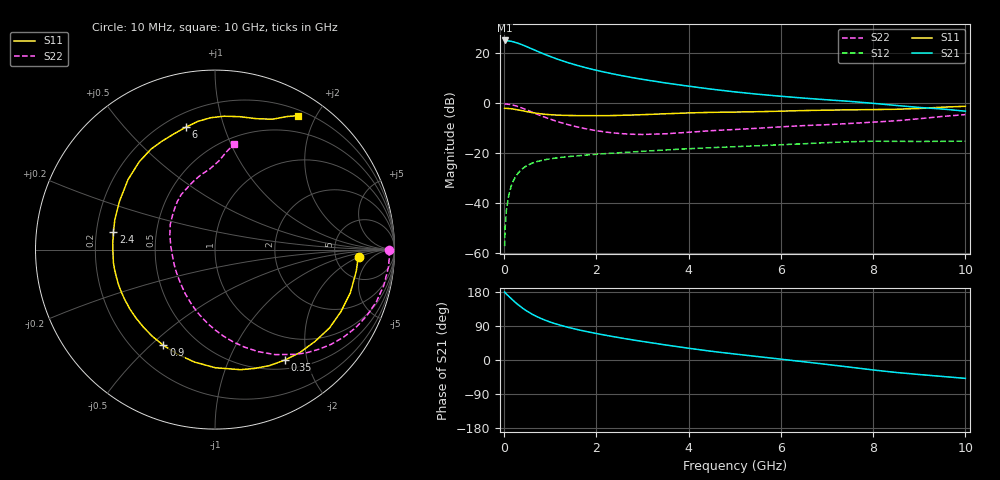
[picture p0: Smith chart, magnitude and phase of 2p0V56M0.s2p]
! (c) 2009  Infineon Technologies AG, Munich
! Infineon Technologies  Discrete & RF Semiconductors
! BFP420
! VCE =  0.5 V,  IC =  6.0 mA
! Common Emitter S-Parameters:  Nov 2009
# GHz  S  MA  R  50
!  f  S11  S21  S12  S22
! GHz  MAG  ANG  MAG  ANG  MAG  ANG  MAG  ANG
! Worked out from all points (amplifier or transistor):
!   46 points, 10 MHz to 10 GHz, reference 50 ohm
!   highest |S21| = 25.2 dB at 10 MHz (marker M1)
!   |S21| within 3 dB of that: start of sweep to 554.3 MHz
!   unconditionally stable (mu >= 1): 2.745 GHz to end of sweep
!   at 300 MHz: K = 0.13, MSG = 26.0 dB, |S12| = -27.9 dB
!   at 1.7 GHz: K = 0.69, MSG = 17.7 dB, |S12| = -20.8 dB
!   at 10 GHz: K = 1.08, MAG = 4.3 dB, |S12| = -15.1 dB
!   lowest NFmin = 0.70 dB at 900 MHz
!   S11 on the Smith chart (normalised r, x): 10 MHz: 8.64, -1.89; 350 MHz: 0.62, -1.63; 900 MHz: 0.33, -0.55; 2.4 GHz: 0.27, +0.08; 6 GHz: 0.28, +0.75; 10 GHz: 0.27, +1.76
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0.01  0.8012 -2.8  18.18 179.3  0.0014 100.6  0.9667 -0.2
0.02  0.7988 -3.5  17.82 178.0  0.0031 88.3  0.9728 -2.4
0.05  0.7961 -8.8  17.87 174.1  0.0075 86.4  0.971 -6.0
0.1  0.7915 -17.7  17.81 168.2  0.0146 81.1  0.9614 -12.0
0.2  0.773 -34.4  17.08 156.8  0.0284 72.3  0.9223 -23.6
0.25  0.7566 -42.5  16.52 151.2  0.0345 68.3  0.8964 -29.1
0.35  0.7278 -57.8  15.4 141.5  0.0452 61.0  0.8342 -39.3
0.45  0.6979 -71.6  14.15 132.6  0.0538 54.8  0.7685 -48.4
0.6  0.6582 -89.9  12.34 121.3  0.0635 47.3  0.6742 -60.2
0.7  0.6368 -100.4  11.26 115.1  0.0683 43.4  0.6178 -67.0
0.9  0.6059 -118.3  9.428 104.5  0.0754 37.5  0.5236 -78.9
1.2  0.5822 -139.3  7.441 92.4  0.0828 31.8  0.4219 -94.2
1.4  0.5749 -150.6  6.475 85.8  0.0865 29.2  0.374 -103.2
1.7  0.5702 -164.6  5.399 77.3  0.0916 26.3  0.3214 -115.9
2.4  0.5742 170.1  3.828 61.0  0.1021 21.4  0.2556 -144.2
3.5  0.622 141.2  2.569 39.7  0.1174 15.0  0.2473 175.4
4.5  0.6639 122.5  1.928 22.9  0.1306 8.9  0.2858 150.8
5.5  0.6839 109.7  1.529 9.0  0.1426 3.3  0.3191 135.1
6  0.701 103.4  1.392 2.2  0.1493 0.3  0.3406 128.0
7  0.735 92.0  1.183 -11.7  0.1645 -7.0  0.3765 114.4
8.5  0.7652 72.4  0.912 -32.9  0.1745 -21.6  0.4508 93.6
10  0.8776 58.3  0.701 -48.5  0.176 -30.6  0.5985 79.7
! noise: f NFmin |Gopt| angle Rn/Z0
0.9  0.7  0.16  29  0.14
1.8  1.08  0.06  113  0.12
2.4  1.17  0.11  132  0.13
3  1.26  0.17  176  0.11
4  1.43  0.31  -139  0.13
5  1.82  0.38  -115  0.24
6  2.3  0.43  -99  0.37
